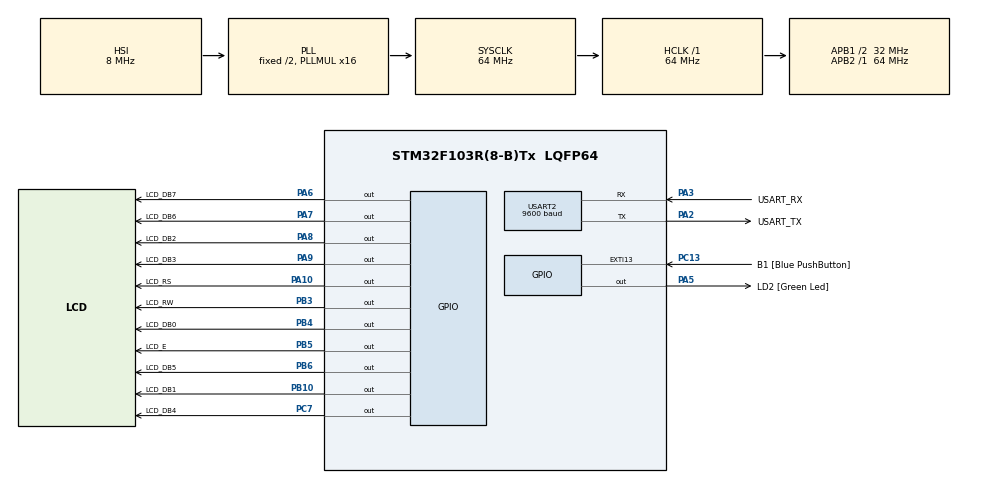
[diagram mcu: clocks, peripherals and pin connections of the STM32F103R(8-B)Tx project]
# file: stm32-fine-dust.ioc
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Mcu.Family=STM32F1
Mcu.Name=STM32F103R(8-B)Tx
Mcu.Package=LQFP64
NVIC.EXTI15_10_IRQn=true\:0\:0\:false\:false\:true\:true\:true\:true
NVIC.PriorityGroup=NVIC_PRIORITYGROUP_4
PA10.GPIO_Label=LCD_RS
PA10.GPIO_PuPd=GPIO_PULLDOWN
PA10.GPIO_Speed=GPIO_SPEED_FREQ_HIGH
PA10.Signal=GPIO_Output
PA13.GPIO_Label=TMS
PA13.Mode=Serial_Wire
PA13.Signal=SYS_JTMS-SWDIO
PA14.GPIO_Label=TCK
PA14.Mode=Serial_Wire
PA14.Signal=SYS_JTCK-SWCLK
PA2.GPIO_Label=USART_TX
PA2.GPIO_Mode=GPIO_MODE_AF_PP
PA2.GPIO_PuPd=GPIO_NOPULL
PA2.GPIO_Speed=GPIO_SPEED_FREQ_LOW
PA2.Mode=Asynchronous
PA2.Signal=USART2_TX
PA3.GPIO_Label=USART_RX
PA3.GPIO_Mode=GPIO_MODE_AF_PP
PA3.GPIO_PuPd=GPIO_NOPULL
PA3.GPIO_Speed=GPIO_SPEED_FREQ_LOW
PA3.Mode=Asynchronous
PA3.Signal=USART2_RX
PA5.GPIO_Label=LD2 [Green Led]
PA5.GPIO_ModeDefaultOutputPP=GPIO_MODE_OUTPUT_PP
PA5.GPIO_PuPd=GPIO_NOPULL
PA5.GPIO_Speed=GPIO_SPEED_FREQ_LOW
PA5.Signal=GPIO_Output
PA6.GPIO_Label=LCD_DB7
PA6.GPIO_PuPd=GPIO_PULLDOWN
PA6.GPIO_Speed=GPIO_SPEED_FREQ_HIGH
PA6.Signal=GPIO_Output
PA7.GPIO_Label=LCD_DB6
PA7.GPIO_PuPd=GPIO_PULLDOWN
PA7.GPIO_Speed=GPIO_SPEED_FREQ_HIGH
PA7.Signal=GPIO_Output
PA8.GPIO_Label=LCD_DB2
PA8.GPIO_PuPd=GPIO_PULLDOWN
PA8.GPIO_Speed=GPIO_SPEED_FREQ_HIGH
PA8.Signal=GPIO_Output
PA9.GPIO_Label=LCD_DB3
PA9.GPIO_PuPd=GPIO_PULLDOWN
PA9.GPIO_Speed=GPIO_SPEED_FREQ_HIGH
PA9.Signal=GPIO_Output
PB10.GPIO_Label=LCD_DB1
PB10.GPIO_PuPd=GPIO_PULLDOWN
PB10.GPIO_Speed=GPIO_SPEED_FREQ_HIGH
PB10.Signal=GPIO_Output
PB3.GPIO_Label=LCD_RW
PB3.GPIO_PuPd=GPIO_PULLDOWN
PB3.GPIO_Speed=GPIO_SPEED_FREQ_HIGH
PB3.Signal=GPIO_Output
PB4.GPIO_Label=LCD_DB0
PB4.GPIO_PuPd=GPIO_PULLDOWN
PB4.GPIO_Speed=GPIO_SPEED_FREQ_HIGH
PB4.Signal=GPIO_Output
PB5.GPIO_Label=LCD_E
PB5.GPIO_PuPd=GPIO_PULLDOWN
PB5.GPIO_Speed=GPIO_SPEED_FREQ_HIGH
PB5.Signal=GPIO_Output
PB6.GPIO_Label=LCD_DB5
PB6.GPIO_PuPd=GPIO_PULLDOWN
PB6.GPIO_Speed=GPIO_SPEED_FREQ_HIGH
PB6.Signal=GPIO_Output
PC13-TAMPER-RTC.GPIO_Label=B1 [Blue PushButton]
PC13-TAMPER-RTC.GPIO_PuPd=GPIO_NOPULL
PC13-TAMPER-RTC.Signal=GPXTI13
PC7.GPIO_Label=LCD_DB4
PC7.GPIO_PuPd=GPIO_PULLDOWN
PC7.GPIO_Speed=GPIO_SPEED_FREQ_HIGH
PC7.Signal=GPIO_Output
ProjectManager.HeapSize=0x200
ProjectManager.StackSize=0x400
ProjectManager.TargetToolchain=STM32CubeIDE
RCC.AHBFreq_Value=64000000
RCC.APB1CLKDivider=RCC_HCLK_DIV2
RCC.APB1Freq_Value=32000000
RCC.APB1TimFreq_Value=64000000
RCC.APB2Freq_Value=64000000
RCC.APB2TimFreq_Value=64000000
RCC.HCLKFreq_Value=64000000
RCC.PLLMUL=RCC_PLL_MUL16
RCC.RTCClockSelection=RCC_RTCCLKSOURCE_LSE
RCC.SYSCLKFreq_VALUE=64000000
RCC.SYSCLKSource=RCC_SYSCLKSOURCE_PLLCLK
RCC.USBFreq_Value=64000000
USART2.BaudRate=9600
USART2.VirtualMode=VM_ASYNC
board=NUCLEO-F103RB

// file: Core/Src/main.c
/* USER CODE BEGIN Header */
/**
  ******************************************************************************
  * @file           : main.c
  * @brief          : Main program body
  ******************************************************************************
  * @attention
  *
  * Copyright (c) 2023 STMicroelectronics.
  * All rights reserved.
  *
  * This software is licensed under terms that can be found in the LICENSE file
  * in the root directory of this software component.
  * If no LICENSE file comes with this software, it is provided AS-IS.
  *
  ******************************************************************************
  */
/* USER CODE END Header */
#include "main.h"

/* USER CODE BEGIN Includes */
#include "../../Domain/LCD/Service/LCD_1602A.h"
#include "../../Domain/LCD/Value_Object/LCD_pin.h"
/* USER CODE END Includes */

UART_HandleTypeDef huart2;

void SystemClock_Config(void);
static void MX_GPIO_Init(void);
static void MX_USART2_UART_Init(void);
/* USER CODE BEGIN PFP */
int _write (int, char *, int);
static void MX_LCD_Init (void);
/* USER CODE END PFP */

/* USER CODE BEGIN 0 */
int _write (int file, char *ptr, int len)
{
  HAL_UART_Transmit(&huart2, (uint8_t *)ptr, len, HAL_MAX_DELAY);
  return len;
}

static void MX_LCD_Init (void)
{
  LCD_pin_t LCD_pin;
  pin_t pa10;
  pin_t pb3;
  pin_t pb5;
  pin_t pb4;
  pin_t pb10;
  pin_t pa8;
  pin_t pa9;
  pin_t pc7;
  pin_t pb6;
  pin_t pa7;
  pin_t pa6;

  pin_init(&pa10, GPIOA, GPIO_PIN_10);
  pin_init(&pb3,  GPIOB, GPIO_PIN_3);
  pin_init(&pb5,  GPIOB, GPIO_PIN_5);
  pin_init(&pb4,  GPIOB, GPIO_PIN_4);
  pin_init(&pb10, GPIOB, GPIO_PIN_10);
  pin_init(&pa8,  GPIOA, GPIO_PIN_8);
  pin_init(&pa9,  GPIOA, GPIO_PIN_9);
  pin_init(&pc7,  GPIOC, GPIO_PIN_7);
  pin_init(&pb6,  GPIOB, GPIO_PIN_6);
  pin_init(&pa7,  GPIOA, GPIO_PIN_7);
  pin_init(&pa6,  GPIOA, GPIO_PIN_6);

  LCD_pin.rs = pa10;
  LCD_pin.rw = pb3;
  LCD_pin.e  = pb5;

  LCD_pin.db[0] = pb4;
  LCD_pin.db[1] = pb10;
  LCD_pin.db[2] = pa8;
  LCD_pin.db[3] = pa9;
  LCD_pin.db[4] = pc7;
  LCD_pin.db[5] = pb6;
  LCD_pin.db[6] = pa7;
  LCD_pin.db[7] = pa6;

  LCD_pin_init(&LCD_pin);
  LCD_init();
}
/* USER CODE END 0 */

int main(void)
{

  /* MCU Configuration--------------------------------------------------------*/

  /* Reset of all peripherals, Initializes the Flash interface and the Systick. */
  HAL_Init();

  /* Configure the system clock */
  SystemClock_Config();

  /* Initialize all configured peripherals */
  MX_GPIO_Init();
  MX_USART2_UART_Init();
  /* USER CODE BEGIN 2 */
  MX_LCD_Init();
  LCD_print("LCD Init");
  /* USER CODE END 2 */

  /* Infinite loop */
  while (1)
  {

  }
}

void SystemClock_Config(void)
{
  RCC_OscInitTypeDef RCC_OscInitStruct = {0};
  RCC_ClkInitTypeDef RCC_ClkInitStruct = {0};

  /** Initializes the RCC Oscillators according to the specified parameters
  * in the RCC_OscInitTypeDef structure.
  */
  RCC_OscInitStruct.OscillatorType = RCC_OSCILLATORTYPE_HSI;
  RCC_OscInitStruct.HSIState = RCC_HSI_ON;
  RCC_OscInitStruct.HSICalibrationValue = RCC_HSICALIBRATION_DEFAULT;
  RCC_OscInitStruct.PLL.PLLState = RCC_PLL_ON;
  RCC_OscInitStruct.PLL.PLLSource = RCC_PLLSOURCE_HSI_DIV2;
  RCC_OscInitStruct.PLL.PLLMUL = RCC_PLL_MUL16;
  if (HAL_RCC_OscConfig(&RCC_OscInitStruct) != HAL_OK)
  {
    Error_Handler();
  }

  /** Initializes the CPU, AHB and APB buses clocks
  */
  RCC_ClkInitStruct.ClockType = RCC_CLOCKTYPE_HCLK|RCC_CLOCKTYPE_SYSCLK
                              |RCC_CLOCKTYPE_PCLK1|RCC_CLOCKTYPE_PCLK2;
  RCC_ClkInitStruct.SYSCLKSource = RCC_SYSCLKSOURCE_PLLCLK;
  RCC_ClkInitStruct.AHBCLKDivider = RCC_SYSCLK_DIV1;
  RCC_ClkInitStruct.APB1CLKDivider = RCC_HCLK_DIV2;
  RCC_ClkInitStruct.APB2CLKDivider = RCC_HCLK_DIV1;

  if (HAL_RCC_ClockConfig(&RCC_ClkInitStruct, FLASH_LATENCY_2) != HAL_OK)
  {
    Error_Handler();
  }
}

static void MX_USART2_UART_Init(void)
{

  huart2.Instance = USART2;
  huart2.Init.BaudRate = 9600;
  huart2.Init.WordLength = UART_WORDLENGTH_8B;
  huart2.Init.StopBits = UART_STOPBITS_1;
  huart2.Init.Parity = UART_PARITY_NONE;
  huart2.Init.Mode = UART_MODE_TX_RX;
  huart2.Init.HwFlowCtl = UART_HWCONTROL_NONE;
  huart2.Init.OverSampling = UART_OVERSAMPLING_16;
  if (HAL_UART_Init(&huart2) != HAL_OK)
  {
    Error_Handler();
  }

}

static void MX_GPIO_Init(void)
{
  GPIO_InitTypeDef GPIO_InitStruct = {0};

  /* GPIO Ports Clock Enable */
  __HAL_RCC_GPIOC_CLK_ENABLE();
  __HAL_RCC_GPIOA_CLK_ENABLE();
  __HAL_RCC_GPIOB_CLK_ENABLE();

  /*Configure GPIO pin Output Level */
  HAL_GPIO_WritePin(GPIOA, LD2_Pin|LCD_DB7_Pin|LCD_DB6_Pin|LCD_DB2_Pin
                          |LCD_DB3_Pin|LCD_RS_Pin, GPIO_PIN_RESET);

  /*Configure GPIO pin Output Level */
  HAL_GPIO_WritePin(GPIOB, LCD_DB1_Pin|LCD_RW_Pin|LCD_DB0_Pin|LCD_E_Pin
                          |LCD_DB5_Pin, GPIO_PIN_RESET);

  /*Configure GPIO pin Output Level */
  HAL_GPIO_WritePin(LCD_DB4_GPIO_Port, LCD_DB4_Pin, GPIO_PIN_RESET);

  /*Configure GPIO pin : B1_Pin */
  GPIO_InitStruct.Pin = B1_Pin;
  GPIO_InitStruct.Mode = GPIO_MODE_IT_RISING;
  GPIO_InitStruct.Pull = GPIO_NOPULL;
  HAL_GPIO_Init(B1_GPIO_Port, &GPIO_InitStruct);

  /*Configure GPIO pin : LD2_Pin */
  GPIO_InitStruct.Pin = LD2_Pin;
  GPIO_InitStruct.Mode = GPIO_MODE_OUTPUT_PP;
  GPIO_InitStruct.Pull = GPIO_NOPULL;
  GPIO_InitStruct.Speed = GPIO_SPEED_FREQ_LOW;
  HAL_GPIO_Init(LD2_GPIO_Port, &GPIO_InitStruct);

  /*Configure GPIO pins : LCD_DB7_Pin LCD_DB6_Pin LCD_DB2_Pin LCD_DB3_Pin
                           LCD_RS_Pin */
  GPIO_InitStruct.Pin = LCD_DB7_Pin|LCD_DB6_Pin|LCD_DB2_Pin|LCD_DB3_Pin
                          |LCD_RS_Pin;
  GPIO_InitStruct.Mode = GPIO_MODE_OUTPUT_PP;
  GPIO_InitStruct.Pull = GPIO_PULLDOWN;
  GPIO_InitStruct.Speed = GPIO_SPEED_FREQ_HIGH;
  HAL_GPIO_Init(GPIOA, &GPIO_InitStruct);

  /*Configure GPIO pins : LCD_DB1_Pin LCD_RW_Pin LCD_DB0_Pin LCD_E_Pin
                           LCD_DB5_Pin */
  GPIO_InitStruct.Pin = LCD_DB1_Pin|LCD_RW_Pin|LCD_DB0_Pin|LCD_E_Pin
                          |LCD_DB5_Pin;
  GPIO_InitStruct.Mode = GPIO_MODE_OUTPUT_PP;
  GPIO_InitStruct.Pull = GPIO_PULLDOWN;
  GPIO_InitStruct.Speed = GPIO_SPEED_FREQ_HIGH;
  HAL_GPIO_Init(GPIOB, &GPIO_InitStruct);

  /*Configure GPIO pin : LCD_DB4_Pin */
  GPIO_InitStruct.Pin = LCD_DB4_Pin;
  GPIO_InitStruct.Mode = GPIO_MODE_OUTPUT_PP;
  GPIO_InitStruct.Pull = GPIO_PULLDOWN;
  GPIO_InitStruct.Speed = GPIO_SPEED_FREQ_HIGH;
  HAL_GPIO_Init(LCD_DB4_GPIO_Port, &GPIO_InitStruct);

  /* EXTI interrupt init*/
  HAL_NVIC_SetPriority(EXTI15_10_IRQn, 0, 0);
  HAL_NVIC_EnableIRQ(EXTI15_10_IRQn);

}

void Error_Handler(void)
{
  __disable_irq();
  while (1)
  {
  }
}
